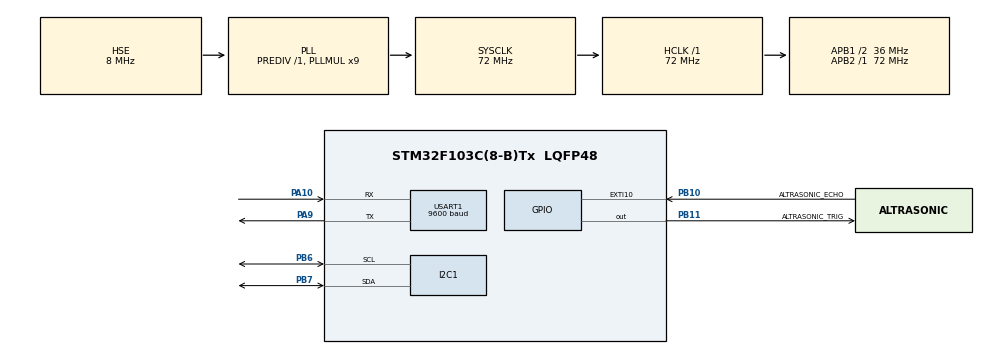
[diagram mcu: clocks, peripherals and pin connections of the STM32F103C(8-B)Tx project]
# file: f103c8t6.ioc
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Mcu.Family=STM32F1
Mcu.Name=STM32F103C(8-B)Tx
Mcu.Package=LQFP48
NVIC.EXTI15_10_IRQn=true\:0\:0\:false\:false\:true\:true\:true\:true
NVIC.PriorityGroup=NVIC_PRIORITYGROUP_4
NVIC.TIM1_UP_IRQn=true\:0\:0\:false\:false\:true\:true\:true\:true
NVIC.TIM2_IRQn=true\:0\:0\:false\:false\:true\:true\:true\:true
NVIC.USART1_IRQn=true\:0\:0\:false\:false\:true\:true\:true\:true
PA10.Mode=Asynchronous
PA10.Signal=USART1_RX
PA9.Mode=Asynchronous
PA9.Signal=USART1_TX
PB10.GPIO_Label=ALTRASONIC_ECHO
PB10.GPIO_ModeDefaultEXTI=GPIO_MODE_IT_RISING_FALLING
PB10.Signal=GPXTI10
PB11.GPIO_Label=ALTRASONIC_TRIG
PB11.Signal=GPIO_Output
PB6.Mode=I2C
PB6.Signal=I2C1_SCL
PB7.Mode=I2C
PB7.Signal=I2C1_SDA
PD0-OSC_IN.Mode=HSE-External-Oscillator
PD0-OSC_IN.Signal=RCC_OSC_IN
PD1-OSC_OUT.Mode=HSE-External-Oscillator
PD1-OSC_OUT.Signal=RCC_OSC_OUT
ProjectManager.HeapSize=0x200
ProjectManager.StackSize=0x400
ProjectManager.TargetToolchain=MDK-ARM V5.32
RCC.AHBFreq_Value=72000000
RCC.APB1CLKDivider=RCC_HCLK_DIV2
RCC.APB1Freq_Value=36000000
RCC.APB1TimFreq_Value=72000000
RCC.APB2Freq_Value=72000000
RCC.APB2TimFreq_Value=72000000
RCC.HCLKFreq_Value=72000000
RCC.PLLMUL=RCC_PLL_MUL9
RCC.PLLSourceVirtual=RCC_PLLSOURCE_HSE
RCC.SYSCLKFreq_VALUE=72000000
RCC.SYSCLKSource=RCC_SYSCLKSOURCE_PLLCLK
RCC.USBFreq_Value=72000000
TIM1.Period=9
TIM1.Prescaler=71
TIM2.Period=999
TIM2.Prescaler=71
USART1.BaudRate=9600
USART1.VirtualMode=VM_ASYNC
VP_SYS_VS_ND.Mode=No_Debug
VP_TIM1_VS_ClockSourceINT.Mode=Internal
VP_TIM2_VS_ClockSourceINT.Mode=Internal
board=custom

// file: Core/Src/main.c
/* USER CODE BEGIN Header */
/**
  ******************************************************************************
  * @file           : main.c
  * @brief          : Main program body
  ******************************************************************************
  * @attention
  *
  * Copyright (c) 2023 STMicroelectronics.
  * All rights reserved.
  *
  * This software is licensed under terms that can be found in the LICENSE file
  * in the root directory of this software component.
  * If no LICENSE file comes with this software, it is provided AS-IS.
  *
  ******************************************************************************
  */
/* USER CODE END Header */
#include "main.h"
#include "i2c.h"
#include "tim.h"
#include "usart.h"
#include "gpio.h"

/* USER CODE BEGIN Includes */
#include "u_console.h"
#include "u_altrasonic.h"
#include "u_then.h"
#include "mpu6050.h"
#include "u_oled.h"
#include <stdio.h>
extern Mpu6050_Typedef mpu6050;
extern Oled_Typedef oled;

/* USER CODE END Includes */

void SystemClock_Config(void);

/* USER CODE BEGIN 0 */

// extern Motor_Typedef motor2;
// extern Motor_Typedef motor1;

/* USER CODE END 0 */

int main(void)
{

  /* MCU Configuration--------------------------------------------------------*/

  /* Reset of all peripherals, Initializes the Flash interface and the Systick. */
  HAL_Init();

  /* Configure the system clock */
  SystemClock_Config();

  /* Initialize all configured peripherals */
  MX_GPIO_Init();
  MX_USART1_UART_Init();
  MX_TIM1_Init();
  MX_TIM2_Init();
  MX_I2C1_Init();
  /* USER CODE BEGIN 2 */

  Then_Init(&htim2);
  Console_Init(&huart1);
  Astrasonic_Init(ALTRASONIC_TRIG_GPIO_Port, ALTRASONIC_TRIG_Pin, ALTRASONIC_ECHO_GPIO_Port, ALTRASONIC_ECHO_Pin, &htim1);
  MPU6050_Init();
  OLED_Init();

  Console_Log("finish ...");

  /* USER CODE END 2 */

  /* Infinite loop */
  /* USER CODE BEGIN WHILE */
  uint8_t i=0;
  while (1)
  {
    /* USER CODE END WHILE */
    i=0;
    MPU6050_Collect();
    MPU6050_Data_Handler();

    // OLED_Printf_Line(i++, "g_x:%f s^-1", mpu6050.gyro_after[0]);
    // OLED_Printf_Line(i++, "g_y:%f s^-1", mpu6050.gyro_after[1]);
    // OLED_Printf_Line(i++, "g_z:%f s^-1", mpu6050.gyro_after[2]);
    // Console_Log("g_x:%f s^-1", mpu6050.gyro_after[0]);
    // Console_Log("g_y:%f s^-1", mpu6050.gyro_after[1]);
    // Console_Log("g_z:%f s^-1", mpu6050.gyro_after[2]);

    // char s[100] = {0};
    // sprintf(s, "a_x:%f", mpu6050.acc_after[0]); OLED_Printf_Line(i++, s);
    // sprintf(s, "a_y:%f", mpu6050.acc_after[1]); OLED_Printf_Line(i++, s);
    // sprintf(s, "a_z:%f", mpu6050.acc_after[2]); OLED_Printf_Line(i++, s);
    // sprintf(s, "g_x:%f", mpu6050.gyro_after[0]); OLED_Printf_Line(i++, s);
    // sprintf(s, "g_y:%f", mpu6050.gyro_after[1]); OLED_Printf_Line(i++, s);
    // sprintf(s, "g_z:%f", mpu6050.gyro_after[2]); OLED_Printf_Line(i++, s);
    Console_Log("%d \t %d \t %d \t end ",   mpu6050.gyro_origin[0],
                                            mpu6050.gyro_origin[1],
                                            mpu6050.gyro_origin[2]);

  }
}

void SystemClock_Config(void)
{
  RCC_OscInitTypeDef RCC_OscInitStruct = {0};
  RCC_ClkInitTypeDef RCC_ClkInitStruct = {0};

  /** Initializes the RCC Oscillators according to the specified parameters
  * in the RCC_OscInitTypeDef structure.
  */
  RCC_OscInitStruct.OscillatorType = RCC_OSCILLATORTYPE_HSE;
  RCC_OscInitStruct.HSEState = RCC_HSE_ON;
  RCC_OscInitStruct.HSEPredivValue = RCC_HSE_PREDIV_DIV1;
  RCC_OscInitStruct.HSIState = RCC_HSI_ON;
  RCC_OscInitStruct.PLL.PLLState = RCC_PLL_ON;
  RCC_OscInitStruct.PLL.PLLSource = RCC_PLLSOURCE_HSE;
  RCC_OscInitStruct.PLL.PLLMUL = RCC_PLL_MUL9;
  if (HAL_RCC_OscConfig(&RCC_OscInitStruct) != HAL_OK)
  {
    Error_Handler();
  }

  /** Initializes the CPU, AHB and APB buses clocks
  */
  RCC_ClkInitStruct.ClockType = RCC_CLOCKTYPE_HCLK|RCC_CLOCKTYPE_SYSCLK
                              |RCC_CLOCKTYPE_PCLK1|RCC_CLOCKTYPE_PCLK2;
  RCC_ClkInitStruct.SYSCLKSource = RCC_SYSCLKSOURCE_PLLCLK;
  RCC_ClkInitStruct.AHBCLKDivider = RCC_SYSCLK_DIV1;
  RCC_ClkInitStruct.APB1CLKDivider = RCC_HCLK_DIV2;
  RCC_ClkInitStruct.APB2CLKDivider = RCC_HCLK_DIV1;

  if (HAL_RCC_ClockConfig(&RCC_ClkInitStruct, FLASH_LATENCY_2) != HAL_OK)
  {
    Error_Handler();
  }
}

void Error_Handler(void)
{
  __disable_irq();
  while (1)
  {
  }
}
